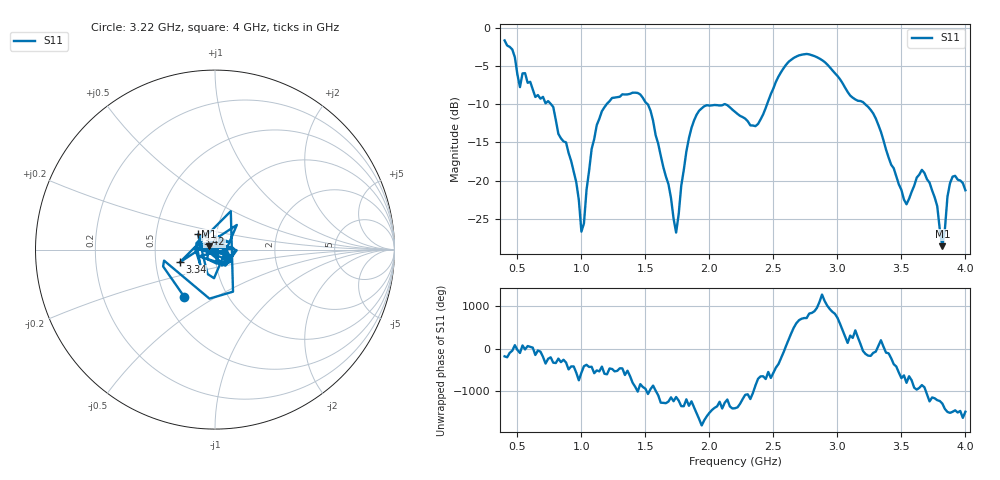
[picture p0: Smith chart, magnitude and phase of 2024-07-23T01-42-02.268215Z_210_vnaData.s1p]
!Created with skrf (http://scikit-rf.org).
# Hz S RI R 50.0
!freq ReS11 ImS11
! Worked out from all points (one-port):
!   181 points, 400 MHz to 4 GHz, reference 50 ohm
!   lowest |S11| = -28.6 dB at 3.82 GHz (marker M1), VSWR 1.08, Z = 46.8 + j1.64 ohm
!   |S11| at or under -10 dB: 762.2 MHz to 1.197 GHz (435.1 MHz wide, 44.4 % of centre); 1.517 GHz to 2.118 GHz (600.4 MHz wide, 33 % of centre); 3.217 GHz to end of sweep (the widest 3 of 4)
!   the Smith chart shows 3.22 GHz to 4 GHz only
!   S11 on the Smith chart (normalised r, x): 3.22 GHz: 0.63, -0.37; 3.34 GHz: 0.67, -0.10; 3.42 GHz: 0.82, +0.14; 4 GHz: 1.14, -0.13
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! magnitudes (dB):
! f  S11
! 400 MHz  -1.7
! 520 MHz  -7.8
! 560 MHz  -5.9
! 780 MHz  -10.4
! 860 MHz  -14.9
! 960 MHz  -20.2
! 1 GHz  -26.7
! 1.12 GHz  -12.7
! 1.3 GHz  -9.0
! 1.52 GHz  -10.0
! 1.74 GHz  -26.8
! 1.76 GHz  -24.4
! 1.82 GHz  -16.2
! 1.9 GHz  -11.4
! 2.2 GHz  -11.0
! 2.38 GHz  -12.6
! 2.66 GHz  -3.9
! 2.88 GHz  -4.2
! 3.1 GHz  -8.9
! 3.22 GHz  -10.1
! 3.34 GHz  -13.6
! 3.42 GHz  -17.9
! 3.56 GHz  -22.4
! 3.68 GHz  -19.0
! 3.78 GHz  -23.3
! 3.82 GHz  -28.6
! 3.9 GHz  -19.5
! 4 GHz  -21.2
